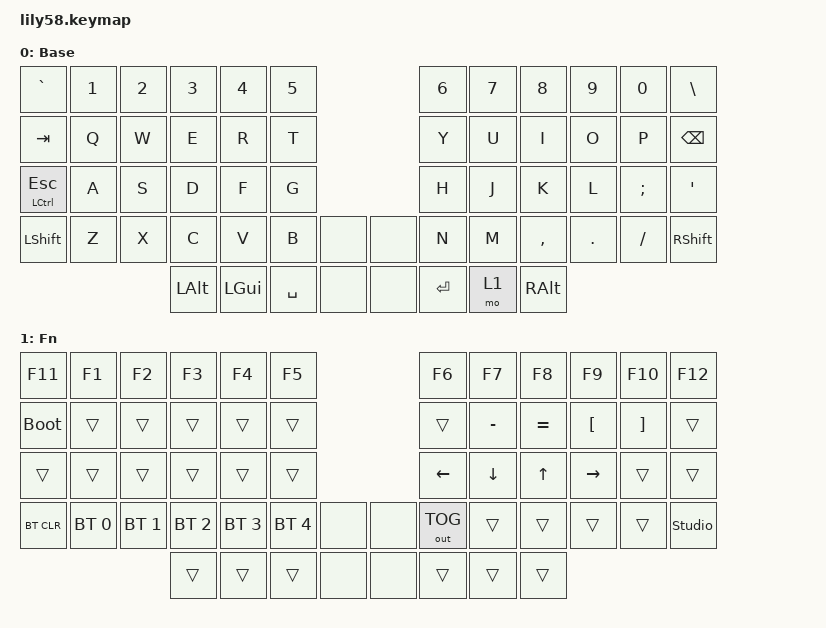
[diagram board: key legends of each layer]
/*
 * Silakka54 keymap, ported from silakka54.vil (Vial).
 * Lily58 shield: the 4 positions marked &none do not exist on the Silakka54
 * (inner row-4 keys and inner thumb keys).
 */

#include <behaviors.dtsi>
#include <dt-bindings/zmk/keys.h>
#include <dt-bindings/zmk/bt.h>
#include <dt-bindings/zmk/outputs.h>

/ {
    keymap {
        compatible = "zmk,keymap";

        base_layer {
// |  `   |  1  |  2  |  3  |  4  |  5  |                  |  6  |  7  |  8  |  9  |  0  |  \   |
// | TAB  |  Q  |  W  |  E  |  R  |  T  |                  |  Y  |  U  |  I  |  O  |  P  | BSPC |
// |CTL/ESC| A  |  S  |  D  |  F  |  G  |                  |  H  |  J  |  K  |  L  |  ;  |  '   |
// | SHFT |  Z  |  X  |  C  |  V  |  B  |                  |  N  |  M  |  ,  |  .  |  /  | SHFT |
//                    | ALT | GUI | SPC |                  | ENT | FN  | RALT|
            display-name = "Base";
            bindings = <
&kp GRAVE     &kp N1 &kp N2 &kp N3   &kp N4   &kp N5                       &kp N6  &kp N7 &kp N8    &kp N9  &kp N0   &kp BSLH
&kp TAB       &kp Q  &kp W  &kp E    &kp R    &kp T                        &kp Y   &kp U  &kp I     &kp O   &kp P    &kp BSPC
&mt LCTRL ESC &kp A  &kp S  &kp D    &kp F    &kp G                        &kp H   &kp J  &kp K     &kp L   &kp SEMI &kp SQT
&kp LSHFT     &kp Z  &kp X  &kp C    &kp V    &kp B     &none     &none    &kp N   &kp M  &kp COMMA &kp DOT &kp FSLH &kp RSHFT
                            &kp LALT &kp LGUI &kp SPACE &none     &none    &kp RET &mo 1  &kp RALT
            >;
        };

        fn_layer {
// | F11  | F1  | F2  | F3  | F4  | F5  |                  | F6  | F7  | F8  | F9  | F10 | F12  |
// | BOOT |     |     |     |     |     |                  |     |  -  |  =  |  [  |  ]  |      |
// |      |     |     |     |     |     |                  |  <- |  v  |  ^  |  -> |     |      |
// |BTCLR | BT0 | BT1 | BT2 | BT3 | BT4 |                  |USB/BLE|   |     |     |     |UNLOCK|
//                    |     |     |     |                  |     |     |     |
            display-name = "Fn";
            bindings = <
&kp F11    &kp F1       &kp F2       &kp F3       &kp F4       &kp F5                       &kp F6       &kp F7    &kp F8    &kp F9   &kp F10  &kp F12
&bootloader &trans      &trans       &trans       &trans       &trans                       &trans       &kp MINUS &kp EQUAL &kp LBKT &kp RBKT &trans
&trans     &trans       &trans       &trans       &trans       &trans                       &kp LEFT     &kp DOWN  &kp UP    &kp RIGHT &trans  &trans
&bt BT_CLR &bt BT_SEL 0 &bt BT_SEL 1 &bt BT_SEL 2 &bt BT_SEL 3 &bt BT_SEL 4 &none  &none   &out OUT_TOG &trans    &trans    &trans   &trans   &studio_unlock
                                     &trans       &trans       &trans       &none  &none   &trans       &trans    &trans
            >;
        };

        extra_1 {
            status = "reserved";
        };

        extra_2 {
            status = "reserved";
        };
    };
};
